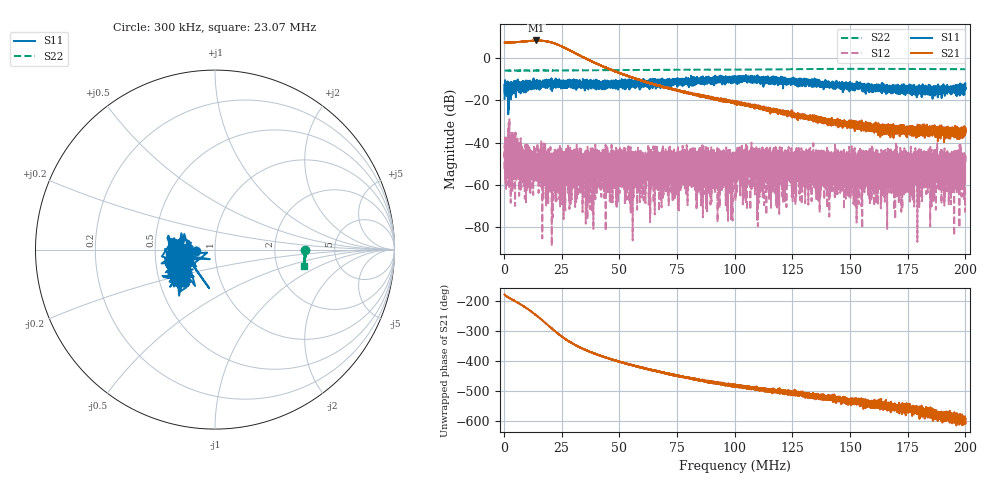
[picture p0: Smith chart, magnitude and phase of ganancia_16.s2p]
# Hz S DB R 50
! CMT, M5065, 19127446, 24.2.4/2
! Date: 11/8/2024 2:52:33 PM
! Data: Format (Calibration Info)
! Freq	S11:dB/Ang(F2)	S21:dB/Ang(F2)	S12:dB/Ang(F2)	S22:dB/Ang(F2)
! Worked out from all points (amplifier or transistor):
!   9000 points, 300 kHz to 200 MHz, reference 50 ohm
!   highest |S21| = 8.2 dB at 13.97 MHz (marker M1)
!   |S21| within 3 dB of that: start of sweep to 25.41 MHz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
!   unconditionally stable (mu >= 1): start of sweep to end of sweep
!   at 33.59 MHz: K = 189.35, MAG = 2.3 dB, |S12| = -55.4 dB
!   at 100.2 MHz: K = 748.03, MAG = -19.3 dB, |S12| = -46.2 dB
!   at 200 MHz: K = 6193.74, MAG = -33.9 dB, |S12| = -49.6 dB
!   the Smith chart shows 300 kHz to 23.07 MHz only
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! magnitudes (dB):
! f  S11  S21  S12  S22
! 300 kHz  -19.4  7.2  -44.2  -6.0
! 1.432 MHz  -12.6  7.2  -43.6  -6.0
! 13.97 MHz  -11.9  8.2  -45.2  -6.0
! 21.56 MHz  -12.8  7.0  -50.5  -6.0
! 22.47 MHz  -10.7  6.6  -49.7  -5.9
! 33.59 MHz  -12.7  0.7  -55.4  -5.9
! 66.87 MHz  -12.7  -13.1  -55.7  -5.7
! 91.11 MHz  -13.0  -19.3  -50.3  -5.6
! 97.45 MHz  -9.0  -20.2  -47.1  -5.6
! 100.2 MHz  -9.2  -21.2  -46.2  -5.5
! 102.2 MHz  -9.7  -21.7  -50.4  -5.6
! 104.3 MHz  -9.5  -21.6  -51.8  -5.6
! 106.4 MHz  -10.2  -22.4  -55.7  -5.6
! 113.9 MHz  -11.5  -24.3  -42.4  -5.5
! 115.7 MHz  -10.9  -24.8  -70.9  -5.5
! 123.7 MHz  -11.4  -26.3  -48.5  -5.4
! 125.7 MHz  -10.5  -26.1  -48.8  -5.3
! 133.4 MHz  -10.4  -28.4  -50.4  -5.3
! 166.7 MHz  -14.1  -32.8  -49.3  -5.2
! 183.2 MHz  -15.3  -34.1  -47.4  -5.3
! 194.2 MHz  -15.1  -36.9  -49.9  -5.3
! 200 MHz  -14.7  -35.5  -49.6  -5.4
